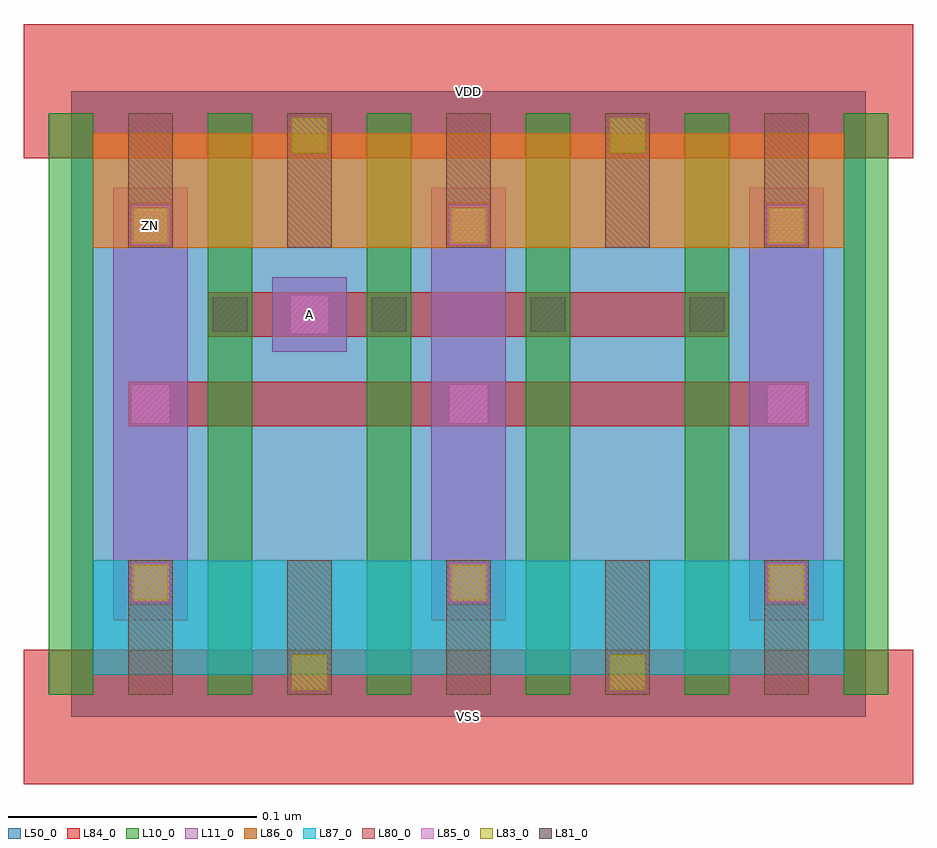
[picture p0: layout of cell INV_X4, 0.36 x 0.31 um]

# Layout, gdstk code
import gdstk
lib = gdstk.Library(unit=1e-6, precision=1e-09)
def R(c, l, rs):  # rectangles x0, y0, x1, y1
    for r in rs: c.add(gdstk.rectangle(r[:2], r[2:], *l))
def A(c, l, x, y, w, h, nx, ny, dx, dy):  # array of equal rectangles
    R(c, l, [(x+i*dx, y+j*dy, x+i*dx+w, y+j*dy+h) for i in range(nx) for j in range(ny)])
L10_0 = (10, 0)
L11_0 = (11, 0)
L50_0 = (50, 0)
L80_0 = (80, 0)
L81_0 = (81, 0)
L83_0 = (83, 0)
L84_0 = (84, 0)
L85_0 = (85, 0)
L86_0 = (86, 0)
L87_0 = (87, 0)

inv_x4 = lib.new_cell('INV_X4')
A(inv_x4, L10_0, -0.009, 0.009, 0.018, 0.234, 6, 1, 0.064, 0)
A(inv_x4, L11_0, 0.017, 0.039, 0.03, 0.174, 3, 1, 0.128, 0)
R(inv_x4, L11_0, [(0.081,0.147,0.111,0.177)])
R(inv_x4, L50_0, [(0,0,0.32,0.252)])
A(inv_x4, L80_0, 0.023, 0.009, 0.018, 0.054, 5, 2, 0.064, 0.18)
A(inv_x4, L81_0, 0.057, 0.155, 0.014, 0.014, 4, 1, 0.064, 0)
A(inv_x4, L83_0, 0.025, 0.047, 0.014, 0.014, 3, 2, 0.128, 0.144)
R(inv_x4, L83_0, [(0.089,0.011,0.103,0.025), (0.217,0.011,0.231,0.025), (0.089,0.227,0.103,0.241), (0.217,0.227,0.231,0.241)])
A(inv_x4, L84_0, 0.023, 0.045, 0.018, 0.018, 3, 2, 0.128, 0.144)
R(inv_x4, L84_0, [(-0.019,-0.027,0.339,0.027), (0.023,0.117,0.297,0.135), (0.055,0.153,0.265,0.171), (-0.019,0.225,0.339,0.279)])
A(inv_x4, L85_0, 0.024, 0.046, 0.016, 0.016, 3, 3, 0.128, 0.072)
R(inv_x4, L85_0, [(0.088,0.154,0.104,0.17)])
R(inv_x4, L86_0, [(0.009,0.189,0.311,0.235)])
R(inv_x4, L87_0, [(0.009,0.017,0.311,0.063)])
inv_x4.add(gdstk.Label('VDD', (0.16,0.252), layer=88, texttype=0))
inv_x4.add(gdstk.Label('VSS', (0.16,0), layer=88, texttype=0))
inv_x4.add(gdstk.Label('ZN', (0.032,0.198), layer=31, texttype=0))
inv_x4.add(gdstk.Label('A', (0.096,0.162), layer=31, texttype=0))

lib.write_gds('INV_X4.gds')
